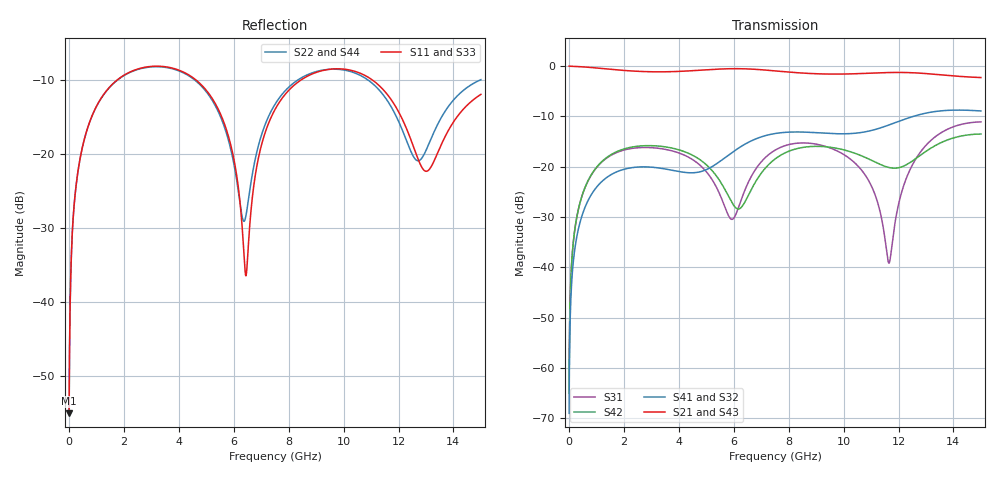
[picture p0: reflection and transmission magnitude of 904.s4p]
! Created with skrf 1.8.0 (http://scikit-rf.org).
# GHz S RI R 50.0
!freq ReS11 ImS11 ReS12 ImS12 ReS13 ImS13
! ReS14 ImS14
! ReS21 ImS21 ReS22 ImS22 ReS23 ImS23
! ReS24 ImS24
! ReS31 ImS31 ReS32 ImS32 ReS33 ImS33
! ReS34 ImS34
! ReS41 ImS41 ReS42 ImS42 ReS43 ImS43
! ReS44 ImS44
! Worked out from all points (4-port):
!   2499 points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, 5 MHz to 15 GHz, reference 50 ohm
!   strongest paths, dB at 5 MHz, 3.476 GHz, 7.19 GHz, 11.1 GHz, 15 GHz:
!     S21: 0.0, -1.1, -0.8, -1.4, -2.3
!     S43: 0.0, -1.1, -0.8, -1.4, -2.3
!     S41: -69.0, -20.4, -13.8, -12.7, -8.9
!     S32: -69.0, -20.5, -13.8, -12.7, -9.0
!     S42: -65.0, -16.0, -20.0, -18.9, -13.5
!     S31: -65.0, -16.5, -18.0, -24.9, -11.1
!   lowest |S11| = -55.1 dB at 5 MHz (marker M1), VSWR 1.00, Z = 50.1 + j0.107 ohm
!   |S11| at or under -10 dB: start of sweep to 1.738 GHz; 4.643 GHz to 8.426 GHz (3.784 GHz wide, 57.9 % of centre); 11.07 GHz to end of sweep
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0.005  0.0014 0.00107  0.9986 -0.00273  6.97e-05 0.000557  -6.78e-05 -0.000348
       0.9986 -0.00273  0.0014 0.00107  -6.78e-05 -0.000348  6.98e-05 0.000557
       6.97e-05 0.000557  -6.78e-05 -0.000348  0.0014 0.00107  0.9986 -0.00273
       -6.78e-05 -0.000348  6.98e-05 0.000557  0.9986 -0.00273  0.0014 0.00107
0.3626511  0.0231 0.0811  0.9683 -0.1967  0.0104 0.0385  -0.00896 -0.0238
           0.9683 -0.1967  0.023 0.0811  -0.00894 -0.0238  0.0111 0.0383
           0.0104 0.0385  -0.00894 -0.0238  0.0232 0.0811  0.9683 -0.1967
           -0.00896 -0.0238  0.0111 0.0383  0.9683 -0.1967  0.023 0.0811
1.619545  0.2367 0.1884  0.6208 -0.6846  0.1107 0.0753  -0.0842 -0.0175
          0.6208 -0.6846  0.2342 0.1897  -0.084 -0.0177  0.1194 0.0655
          0.1107 0.0753  -0.084 -0.0177  0.2369 0.1883  0.6207 -0.6846
          -0.0842 -0.0175  0.1194 0.0655  0.6207 -0.6846  0.2341 0.1898
6.427678  0.0149 -0.00355  -0.9379 -0.0532  0.0401 0.0455  -0.00291 0.1688
          -0.9379 -0.0532  0.0356 0.0102  -0.00725 0.1686  -0.028 0.0362
          0.0401 0.0455  -0.00725 0.1686  0.0143 -0.00518  -0.9378 -0.0535
          -0.00291 0.1688  -0.028 0.0362  -0.9378 -0.0535  0.0368 0.00839
10.36682  0.3555 -0.0875  0.168 0.8216  0.0815 -0.0768  0.1952 -0.0891
          0.168 0.8216  0.3458 -0.09  0.1974 -0.0796  0.0666 -0.1204
          0.0815 -0.0768  0.1974 -0.0796  0.3553 -0.089  0.1694 0.8217
          0.1952 -0.0891  0.0666 -0.1204  0.1694 0.8217  0.344 -0.0888
11.65486  0.1834 -0.1629  0.6295 0.591  -0.0106 -0.00308  0.1694 -0.1975
          0.6295 0.591  0.1725 -0.1389  0.1788 -0.1891  -0.0755 -0.0628
          -0.0106 -0.00308  0.1788 -0.1891  0.1826 -0.1632  0.6309 0.5896
          0.1694 -0.1975  -0.0755 -0.0628  0.6309 0.5896  0.1729 -0.1381
15  0.2389 0.0868  0.5083 -0.5782  0.2789 0.0111  -0.322 -0.1571
    0.5083 -0.5782  0.3106 0.0757  -0.3087 -0.1708  0.1989 0.0719
    0.2789 0.0111  -0.3087 -0.1708  0.2479 0.0809  0.5062 -0.5806
    -0.322 -0.1571  0.1989 0.0719  0.5062 -0.5806  0.302 0.0763
